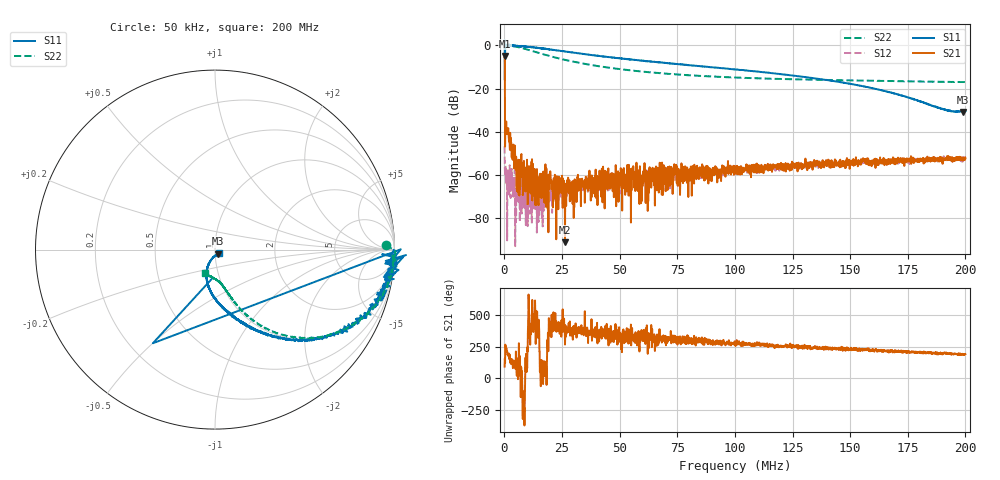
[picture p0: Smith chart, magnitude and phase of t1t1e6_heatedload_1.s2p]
! 27-Aug-26 2:26:02 PM
! E:\20260827_VNA\T1T1E6_HEATEDLOAD_1.S2P
! CHANNEL.1
! TR.MEASUREMENT
! CORRECTED.DATA
# GHZ S RI R 50.0
! FREQ.GHZ  S11RE  S11IM  S21RE  S21IM  S12RE  S12IM  S22RE  S22IM
!; PortSelection: Port_12
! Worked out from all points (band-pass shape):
!   2000 points, 50 kHz to 200 MHz, reference 50 ohm
!   highest |S21| = -4.84 dB at 150 kHz (marker M1); lowest = -91.3 dB at 26.26 MHz (marker M2)
!   |S21| within 3 dB of the highest: start of sweep to 157.2 kHz
!   lowest |S11| = -30.8 dB at 199 MHz (marker M3), VSWR 1.06, Z = 51.8 - j2.29 ohm
!   |S11| at or under -10 dB: 117.2 kHz to 200.5 kHz (83.31 kHz wide, 52.5 % of centre); 88.85664 MHz to 89.1453 MHz (288.7 kHz wide, 0.324 % of centre); 89.2 MHz to end of sweep
!   |S22| runs from -17.0 to 0.1 dB; largest |S21 - S12| = 0.57
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5e-05  1.264 -0.3343  -0.0305 0.5317  -0.00424 -0.00177  0.9514 0.0264
0.000150025  -0.0125 -0.1573  -0.5304 0.2166  -0.000925 -0.00115  1.002 -0.00507
0.0012503  0.9312 -0.0264  -0.00916 -0.00336  0.000418 -1.49e-05  0.9956 -0.0939
0.005751426  0.9409 -0.1957  -0.000267 0.00149  -7.85e-05 0.00046  0.8471 -0.3569
0.007751926  0.9384 -0.2605  -0.000247 -0.00145  0.000311 -0.00059  0.7505 -0.4262
0.0124531  0.8274 -0.3702  0.00085 8.48e-05  0.000192 0.000278  0.543 -0.4922
0.02625655  0.5278 -0.5002  -1.3e-06 -2.71e-05  0.000514 0.000244  0.2268 -0.4056
0.028057  0.4934 -0.5044  0.000541 0.00032  0.00046 0.000327  0.2063 -0.3899
0.02935733  0.4666 -0.5035  0.000475 -9.06e-05  0.000521 8.12e-05  0.1939 -0.3801
0.03345835  0.4044 -0.5003  0.000727 -0.000172  0.000526 6.53e-05  0.1619 -0.3514
0.0424606  0.2946 -0.4718  0.000396 -0.000192  0.00063 -9.61e-05  0.1143 -0.3004
0.04456113  0.2795 -0.466  0.000516 -0.00037  0.00049 -0.000202  0.1076 -0.2909
0.04936233  0.2363 -0.451  0.000388 -0.000416  0.000618 -0.000401  0.0931 -0.2714
0.05636408  0.1838 -0.4251  0.000468 -0.000189  0.000464 -0.000517  0.0755 -0.2481
0.06226556  0.1442 -0.4082  0.000539 -0.00104  0.000717 -0.00031  0.065 -0.2321
0.06376593  0.1377 -0.4013  0.000592 0.000298  0.000398 -0.000603  0.0627 -0.229
0.06676668  0.1233 -0.3898  0.000388 -0.000596  0.000539 -0.000745  0.0592 -0.2232
0.100075  0.00428 -0.2799  -0.000242 -0.00158  0.000215 -0.00123  0.0224 -0.1798
0.1333833  -0.0454 -0.1709  -0.000799 -0.00148  -0.000717 -0.00156  -0.00396 -0.1613
0.1666917  -0.0338 -0.0766  -0.0021 -0.000947  -0.00152 -0.00123  -0.0296 -0.1472
0.1989998  0.0184 -0.0221  -0.00228 -0.000281  -0.00248 -0.00043  -0.0547 -0.1312
0.2  0.0208 -0.0215  -0.00237 -0.000467  -0.00245 -0.000543  -0.0555 -0.1307
